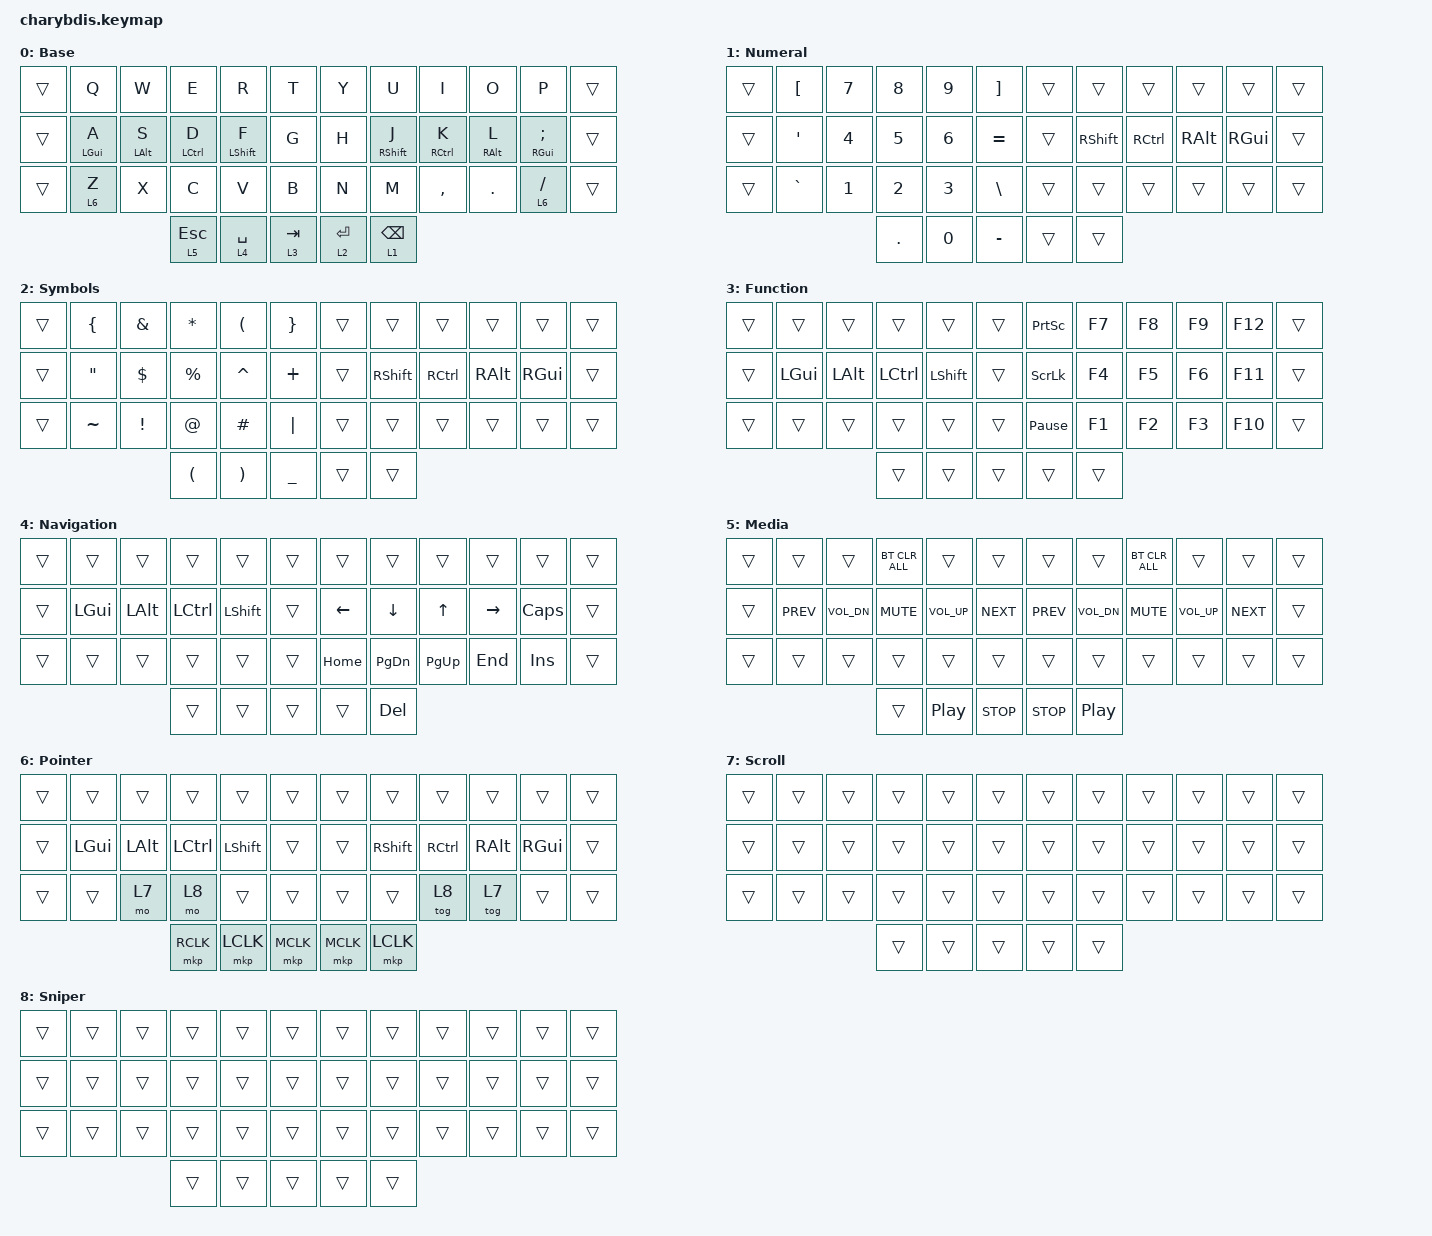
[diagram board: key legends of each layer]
#include <dt-bindings/zmk/mouse.h>
#include <behaviors.dtsi>
#include <dt-bindings/zmk/bt.h>
#include <dt-bindings/zmk/keys.h>
#include <behaviors/mouse_keys.dtsi>

&mt {
    tapping-term-ms = <200>;
    require-prior-idle-ms = <100>;
};

/ {
    behaviors {
        hml: homewrow_mods_left {
            compatible = "zmk,behavior-hold-tap";
            label = "HOMEROW_MODS_LEFT_HAND";
            bindings = <&kp>, <&kp>;

            #binding-cells = <2>;
            tapping-term-ms = <280>;
            hold-trigger-key-positions = <6 7 8 9 10 11 18 19 20 21 22 23 30 31 32 33 34 35 39 40>;
            flavor = "balanced";
            quick-tap-ms = <175>;
            require-prior-idle-ms = <115>;
            hold-trigger-on-release;
        };

        hmr: homewrow_mods_right {
            compatible = "zmk,behavior-hold-tap";
            label = "HOMEROW_MODS_RIGHT_HAND";
            bindings = <&kp>, <&kp>;

            #binding-cells = <2>;
            tapping-term-ms = <280>;
            hold-trigger-key-positions = <0 1 2 3 4 5 12 13 14 15 16 17 24 25 26 27 28 29 36 37 38>;
            flavor = "balanced";
            quick-tap-ms = <175>;
            require-prior-idle-ms = <115>;
            hold-trigger-on-release;
        };
    };

    combos { compatible = "zmk,combos"; };

    keymap {
        compatible = "zmk,keymap";

        Base {
            label = "Base";
            bindings = <
&trans  &kp Q            &kp W            &kp E                &kp R              &kp T        &kp Y        &kp U               &kp I                 &kp O             &kp P                     &trans
&trans  &hml LEFT_GUI A  &hml LEFT_ALT S  &hml LEFT_CONTROL D  &hml LEFT_SHIFT F  &kp G        &kp H        &hml RIGHT_SHIFT J  &hml RIGHT_CONTROL K  &hml RIGHT_ALT L  &hml RIGHT_GUI SEMICOLON  &trans
&trans  &lt 6 Z          &kp X            &kp C                &kp V              &kp B        &kp N        &kp M               &kp COMMA             &kp DOT           &lt 6 SLASH               &trans
                                          &lt 5 ESCAPE         &lt 4 SPACE        &lt 3 TAB    &lt 2 ENTER  &lt 1 BACKSPACE
            >;
        };

        Numeral {
            bindings = <
&trans  &kp LBKT   &kp N7  &kp N8   &kp N9  &kp RBKT     &trans  &trans           &trans             &trans         &trans         &trans
&trans  &kp APOS   &kp N4  &kp N5   &kp N6  &kp EQUAL    &trans  &kp RIGHT_SHIFT  &kp RIGHT_CONTROL  &kp RIGHT_ALT  &kp RIGHT_GUI  &trans
&trans  &kp GRAVE  &kp N1  &kp N2   &kp N3  &kp BSLH     &trans  &trans           &trans             &trans         &trans         &trans
                           &kp DOT  &kp N0  &kp MINUS    &trans  &trans
            >;

            label = "Numeral";
        };

        Symbols {
            bindings = <
&trans  &kp LEFT_BRACE     &kp AMPERSAND  &kp ASTERISK          &kp LEFT_PARENTHESIS   &kp RIGHT_BRACE    &trans  &trans           &trans             &trans         &trans         &trans
&trans  &kp DOUBLE_QUOTES  &kp DOLLAR     &kp PERCENT           &kp CARET              &kp PLUS           &trans  &kp RIGHT_SHIFT  &kp RIGHT_CONTROL  &kp RIGHT_ALT  &kp RIGHT_GUI  &trans
&trans  &kp TILDE          &kp EXCL       &kp AT                &kp HASH               &kp PIPE           &trans  &trans           &trans             &trans         &trans         &trans
                                          &kp LEFT_PARENTHESIS  &kp RIGHT_PARENTHESIS  &kp UNDER          &trans  &trans
            >;

            label = "Symbols";
        };

        Function {
            bindings = <
&trans  &trans        &trans        &trans            &trans          &trans    &kp PRINTSCREEN  &kp F7  &kp F8  &kp F9  &kp F12  &trans
&trans  &kp LEFT_GUI  &kp LEFT_ALT  &kp LEFT_CONTROL  &kp LEFT_SHIFT  &trans    &kp SCROLLLOCK   &kp F4  &kp F5  &kp F6  &kp F11  &trans
&trans  &trans        &trans        &trans            &trans          &trans    &kp PAUSE_BREAK  &kp F1  &kp F2  &kp F3  &kp F10  &trans
                                    &trans            &trans          &trans    &trans           &trans
            >;

            label = "Function";
        };

        Navigation {
            bindings = <
&trans  &trans        &trans        &trans            &trans          &trans    &trans    &trans         &trans       &trans     &trans        &trans
&trans  &kp LEFT_GUI  &kp LEFT_ALT  &kp LEFT_CONTROL  &kp LEFT_SHIFT  &trans    &kp LEFT  &kp DOWN       &kp UP       &kp RIGHT  &kp CAPSLOCK  &trans
&trans  &trans        &trans        &trans            &trans          &trans    &kp HOME  &kp PAGE_DOWN  &kp PAGE_UP  &kp END    &kp INS       &trans
                                    &trans            &trans          &trans    &trans    &kp DELETE
            >;

            label = "Navigation";
        };

        Media {
            bindings = <
&trans  &trans      &trans        &bt BT_CLR_ALL  &trans            &trans        &trans      &trans            &bt BT_CLR_ALL  &trans        &trans      &trans
&trans  &kp C_PREV  &kp C_VOL_DN  &kp C_MUTE      &kp C_VOL_UP      &kp C_NEXT    &kp C_PREV  &kp C_VOL_DN      &kp C_MUTE      &kp C_VOL_UP  &kp C_NEXT  &trans
&trans  &trans      &trans        &trans          &trans            &trans        &trans      &trans            &trans          &trans        &trans      &trans
                                  &trans          &kp C_PLAY_PAUSE  &kp C_STOP    &kp C_STOP  &kp C_PLAY_PAUSE
            >;

            label = "Media";
        };

        Pointer {
            bindings = <
&trans  &trans        &trans        &trans            &trans          &trans       &trans     &trans           &trans             &trans         &trans         &trans
&trans  &kp LEFT_GUI  &kp LEFT_ALT  &kp LEFT_CONTROL  &kp LEFT_SHIFT  &trans       &trans     &kp RIGHT_SHIFT  &kp RIGHT_CONTROL  &kp RIGHT_ALT  &kp RIGHT_GUI  &trans
&trans  &trans        &mo 7         &mo 8             &trans          &trans       &trans     &trans           &tog 8             &tog 7         &trans         &trans
                                    &mkp RCLK         &mkp LCLK       &mkp MCLK    &mkp MCLK  &mkp LCLK
            >;

            label = "Pointer";
        };

        Scroll {
            bindings = <
&trans  &trans  &trans  &trans  &trans  &trans    &trans  &trans  &trans  &trans  &trans  &trans
&trans  &trans  &trans  &trans  &trans  &trans    &trans  &trans  &trans  &trans  &trans  &trans
&trans  &trans  &trans  &trans  &trans  &trans    &trans  &trans  &trans  &trans  &trans  &trans
                        &trans  &trans  &trans    &trans  &trans
            >;

            label = "Scroll";
        };

        Sniper {
            bindings = <
&trans  &trans  &trans  &trans  &trans  &trans    &trans  &trans  &trans  &trans  &trans  &trans
&trans  &trans  &trans  &trans  &trans  &trans    &trans  &trans  &trans  &trans  &trans  &trans
&trans  &trans  &trans  &trans  &trans  &trans    &trans  &trans  &trans  &trans  &trans  &trans
                        &trans  &trans  &trans    &trans  &trans
            >;

            label = "Sniper";
        };
    };
};
